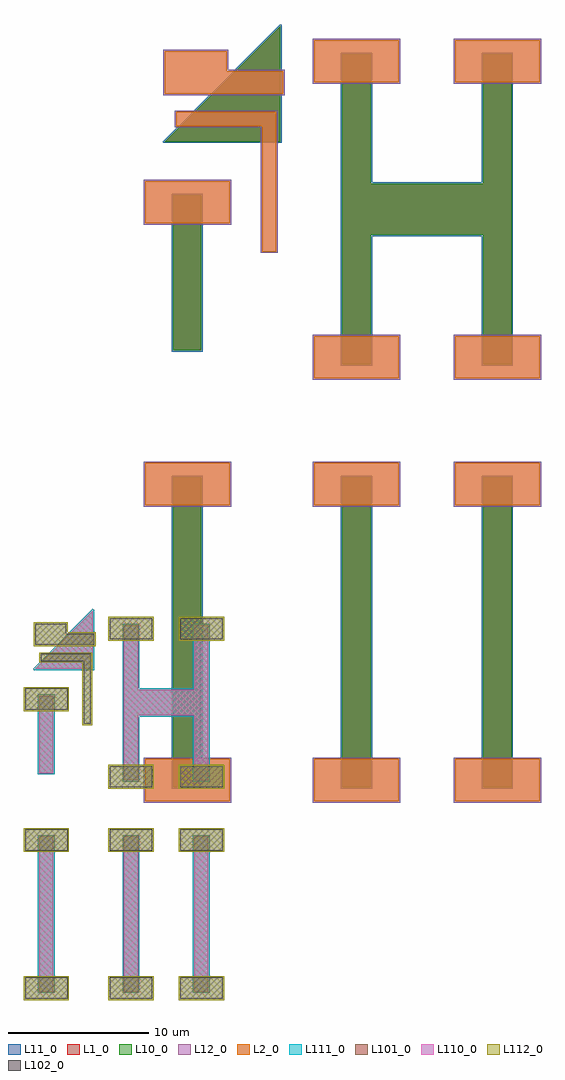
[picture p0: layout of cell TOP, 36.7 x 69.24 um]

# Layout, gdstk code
from math import pi, radians
import gdstk
lib = gdstk.Library(unit=1e-6, precision=1e-09)
def R(c, l, rs):  # rectangles x0, y0, x1, y1
    for r in rs: c.add(gdstk.rectangle(r[:2], r[2:], *l))
def P(c, l, *ps):  # polygons
    for p in ps: c.add(gdstk.Polygon(p, *l))
L1_0 = (1, 0)
L2_0 = (2, 0)
L10_0 = (10, 0)
L11_0 = (11, 0)
L12_0 = (12, 0)
L101_0 = (101, 0)
L102_0 = (102, 0)
L110_0 = (110, 0)
L111_0 = (111, 0)
L112_0 = (112, 0)

part = lib.new_cell('PART')
R(part, L1_0, [(0,0,1,5.5)])
R(part, L2_0, [(-1,4.5,2,6)])
R(part, L12_0, [(-1.05,4.45,2.05,6.05)])

child = lib.new_cell('CHILD')
child.add(gdstk.Reference(part, (-0.5,0)))
child.add(gdstk.Reference(part, (0.5,0), rotation=pi))

part_1 = lib.new_cell('PART$1')
R(part_1, L101_0, [(0,0,1,5.5)])
R(part_1, L102_0, [(-1,4.5,2,6)])
R(part_1, L112_0, [(-1.1,4.4,2.1,6.1)])

child_1 = lib.new_cell('CHILD$1')
child_1.add(gdstk.Reference(part_1, (-0.5,0)))
child_1.add(gdstk.Reference(part_1, (0.5,0), rotation=pi))

top = lib.new_cell('TOP')
R(top, L1_0, [(21.6,48.2,32.2,51.8)])
P(top, L1_0, [(8.4,54.8),(16.6,63),(16.6,54.8)])
R(top, L2_0, [(15.3,47,16.3,55.9), (9.2,55.9,16.3,56.9)])
P(top, L2_0, [(8.4,58.2),(8.4,61.2),(12.8,61.2),(12.8,59.8),(16.8,59.8),(16.8,58.2)])
R(top, L10_0, [(9,9,11,31), (21,9,23,31), (31,9,33,31), (9,40,11,51)])
P(top, L10_0, [(8.4,54.8),(16.6,63),(16.6,54.8)],
  [(21,39),(21,61),(23,61),(23,51.8),(31,51.8),(31,61),(33,61),(33,39),(31,39),(31,48.2),(23,48.2),(23,39)])
R(top, L11_0, [(8.9,8.9,11.1,31.1), (20.9,8.9,23.1,31.1), (30.9,8.9,33.1,31.1), (8.9,39.9,11.1,51.1)])
P(top, L11_0, [(8.3,54.7),(8.258,54.8),(16.6,63.142),(16.7,63.1),(16.7,54.7)],
  [(20.9,38.9),(20.9,61.1),(23.1,61.1),(23.1,51.9),(30.9,51.9),(30.9,61.1),(33.1,61.1),(33.1,38.9),(30.9,38.9),(30.9,48.1),(23.1,48.1),(23.1,38.9)])
R(top, L12_0, [(15.2,46.9,16.4,55.8), (9.1,55.8,16.4,57)])
P(top, L12_0, [(8.3,58.1),(8.3,61.3),(12.9,61.3),(12.9,59.9),(16.9,59.9),(16.9,58.1)])
R(top, L101_0, [(5.8,14.1,11.1,15.9)])
P(top, L101_0, [(-0.8,17.4),(3.3,21.5),(3.3,17.4)])
R(top, L102_0, [(2.65,13.5,3.15,17.95), (-0.4,17.95,3.15,18.45)])
P(top, L102_0, [(-0.8,19.1),(-0.8,20.6),(1.4,20.6),(1.4,19.9),(3.4,19.9),(3.4,19.1)])
R(top, L110_0, [(-0.5,-5.5,0.5,5.5), (5.5,-5.5,6.5,5.5), (10.5,-5.5,11.5,5.5), (-0.5,10,0.5,15.5)])
P(top, L110_0, [(-0.8,17.4),(3.3,21.5),(3.3,17.4)],
  [(5.5,9.5),(5.5,20.5),(6.5,20.5),(6.5,15.9),(10.5,15.9),(10.5,20.5),(11.5,20.5),(11.5,9.5),(10.5,9.5),(10.5,14.1),(6.5,14.1),(6.5,9.5)])
R(top, L111_0, [(-0.6,-5.6,0.6,5.6), (5.4,-5.6,6.6,5.6), (10.4,-5.6,11.6,5.6), (-0.6,9.9,0.6,15.6)])
P(top, L111_0, [(-0.9,17.3),(-0.942,17.4),(3.3,21.642),(3.4,21.6),(3.4,17.3)],
  [(5.4,9.4),(5.4,20.6),(6.6,20.6),(6.6,16),(10.4,16),(10.4,20.6),(11.6,20.6),(11.6,9.4),(10.4,9.4),(10.4,14),(6.6,14),(6.6,9.4)])
R(top, L112_0, [(2.55,13.4,3.25,17.85), (-0.5,17.85,3.25,18.55)])
P(top, L112_0, [(-0.9,19),(-0.9,20.7),(1.5,20.7),(1.5,20),(3.5,20),(3.5,19)])
top.add(gdstk.Reference(child, (10,20), magnification=2))
r = gdstk.Reference(child, (22,20), magnification=2); r.repetition = gdstk.Repetition(2, 2, v1=(10,0), v2=(0,30)); top.add(r)
top.add(gdstk.Reference(part, (9,40), magnification=2))
top.add(gdstk.Reference(child_1, (0,0)))
r = gdstk.Reference(child_1, (6,0)); r.repetition = gdstk.Repetition(2, 2, v1=(5,0), v2=(0,15)); top.add(r)
top.add(gdstk.Reference(part_1, (-0.5,10)))

lib.write_gds('TOP.gds')
